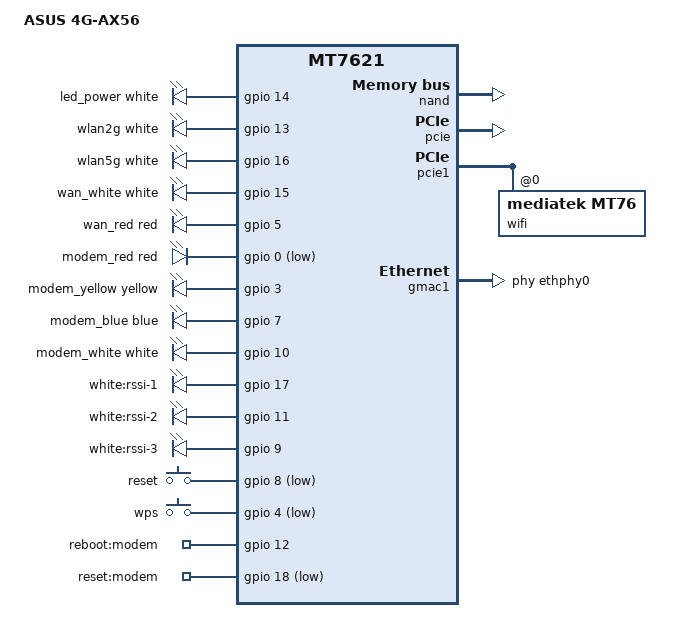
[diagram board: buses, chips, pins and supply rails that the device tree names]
// SPDX-License-Identifier: GPL-2.0-or-later OR MIT

#include "mt7621.dtsi"

#include <dt-bindings/gpio/gpio.h>
#include <dt-bindings/input/input.h>
#include <dt-bindings/leds/common.h>

/ {
	compatible = "asus,4g-ax56", "mediatek,mt7621-soc";
	model = "ASUS 4G-AX56";

	aliases {
		led-boot = &led_power;
		led-failsafe = &led_power;
		led-running = &led_power;
		led-upgrade = &led_power;
		label-mac-device = &gmac0;
	};

	chosen {
		bootargs = "console=ttyS0,115200";
		bootargs-override = "console=ttyS0,115200";
	};

	leds {
		compatible = "gpio-leds";

		led_power: power {
			color = <LED_COLOR_ID_WHITE>;
			function = LED_FUNCTION_POWER;
			gpios = <&gpio 14 GPIO_ACTIVE_HIGH>;
		};

		wlan2g {
			color = <LED_COLOR_ID_WHITE>;
			function = LED_FUNCTION_WLAN_2GHZ;
			gpios = <&gpio 13 GPIO_ACTIVE_HIGH>;
			linux,default-trigger = "phy0tpt";
		};

		wlan5g {
			color = <LED_COLOR_ID_WHITE>;
			function = LED_FUNCTION_WLAN_5GHZ;
			gpios = <&gpio 16 GPIO_ACTIVE_HIGH>;
			linux,default-trigger = "phy1tpt";
		};

		wan_white {
			color = <LED_COLOR_ID_WHITE>;
			function = LED_FUNCTION_WAN;
			gpios = <&gpio 15 GPIO_ACTIVE_HIGH>;
		};

		wan_red {
			color = <LED_COLOR_ID_RED>;
			function = LED_FUNCTION_WAN;
			gpios = <&gpio 5 GPIO_ACTIVE_HIGH>;
		};

		modem_red {
			color = <LED_COLOR_ID_RED>;
			function = LED_FUNCTION_MOBILE;
			gpios = <&gpio 0 GPIO_ACTIVE_LOW>;
		};

		modem_yellow {
			color = <LED_COLOR_ID_YELLOW>;
			function = LED_FUNCTION_MOBILE;
			gpios = <&gpio 3 GPIO_ACTIVE_HIGH>;
		};

		modem_blue {
			color = <LED_COLOR_ID_BLUE>;
			function = LED_FUNCTION_MOBILE;
			gpios = <&gpio 7 GPIO_ACTIVE_HIGH>;
		};

		modem_white {
			color = <LED_COLOR_ID_WHITE>;
			function = LED_FUNCTION_MOBILE;
			gpios = <&gpio 10 GPIO_ACTIVE_HIGH>;
		};

		rssi_1 {
			label = "white:rssi-1";
			gpios = <&gpio 17 GPIO_ACTIVE_HIGH>;
		};

		rssi_2 {
			label = "white:rssi-2";
			gpios = <&gpio 11 GPIO_ACTIVE_HIGH>;
		};

		rssi_3 {
			label = "white:rssi-3";
			gpios = <&gpio 9 GPIO_ACTIVE_HIGH>;
		};
	};

	keys {
		compatible = "gpio-keys";

		key-restart {
			label = "reset";
			gpios = <&gpio 8 GPIO_ACTIVE_LOW>;
			linux,code = <KEY_RESTART>;
		};

		key-wps {
			label = "wps";
			gpios = <&gpio 4 GPIO_ACTIVE_LOW>;
			linux,code = <KEY_WPS_BUTTON>;
		};
	};

	gpio-export {
		compatible = "gpio-export";

		modem_reboot {
			gpio-export,name = "reboot:modem";
			gpio-export,output = <1>;
			gpios = <&gpio 12 GPIO_ACTIVE_HIGH>;
		};

		modem_reset {
			gpio-export,name = "reset:modem";
			gpio-export,output = <1>;
			gpios = <&gpio 18 GPIO_ACTIVE_LOW>;
		};
	};
};

&nand {
	status = "okay";

	mediatek,nmbm;
	mediatek,bmt-remap-range =
		<0x000000 0x7e0000>,
		<0x35e0000 0x7800000>;

	partitions {
		compatible = "fixed-partitions";
		#address-cells = <1>;
		#size-cells = <1>;

		partition@0 {
			label = "u-boot";
			reg = <0x0 0x80000>;
			read-only;
		};

		/*
		 * u-boot gets split here while keeping u-boot read-only,
		 * which allows safe usage of fw_setenv
		 */
		partition@80000 {
			label = "u-boot-env";
			reg = <0x80000 0x60000>;
		};

		partition@e0000 {
			label = "nvram";
			reg = <0xe0000 0x100000>;
			read-only;
		};

		partition@1e0000 {
			label = "factory";
			reg = <0x1e0000 0x100000>;
			read-only;

			nvmem-layout {
				compatible = "fixed-layout";
				#address-cells = <1>;
				#size-cells = <1>;

				eeprom_factory_0: eeprom@0 {
					reg = <0x0 0xe00>;
				};

				macaddr_factory_4: macaddr@4 {
					reg = <0x4 0x6>;
				};

				precal_factory_e10: precal@e10 {
					reg = <0xe10 0x19c10>;
				};
			};
		};

		partition@2e0000 {
			label = "factory2";
			reg = <0x2e0000 0x100000>;
			read-only;
		};

		partition@3e0000 {
			label = "firmware";
			reg = <0x3e0000 0x3200000>;

			compatible = "fixed-partitions";
			#address-cells = <1>;
			#size-cells = <1>;

			partition@0 {
				label = "kernel";
				reg = <0x0 0x400000>;
			};

			partition@400000 {
				label = "ubi";
				reg = <0x400000 0x2e00000>;
			};
		};

		partition@35e0000 {
			label = "firmware2";
			reg = <0x35e0000 0x3200000>;
		};

		partition@67e0000 {
			label = "jffs2";
			reg = <0x67e0000 0x1020000>;
		};

		/* Last 8M are reserved for NMBM management (bad blocks) */
	};
};

&pcie {
	status = "okay";
};

&pcie1 {
	wifi@0,0 {
		compatible = "mediatek,mt76";
		reg = <0x0000 0 0 0 0>;
		nvmem-cells = <&eeprom_factory_0>, <&precal_factory_e10>;
		nvmem-cell-names = "eeprom", "precal";
		mediatek,disable-radar-background;
	};
};

&gmac0 {
	nvmem-cells = <&macaddr_factory_4>;
	nvmem-cell-names = "mac-address";
};

&gmac1 {
	status = "okay";
	label = "wan";
	phy-handle = <&ethphy0>;

	nvmem-cells = <&macaddr_factory_4>;
	nvmem-cell-names = "mac-address";
};

&ethphy0 {
	/delete-property/ interrupts;
};

&switch0 {
	ports {
		port@1 {
			status = "okay";
			label = "lan1";
		};

		port@2 {
			status = "okay";
			label = "lan2";
		};

		port@3 {
			status = "okay";
			label = "lan3";
		};

		port@4 {
			status = "okay";
			label = "lan4";
		};
	};
};

&state_default {
	gpio {
		groups = "i2c", "uart2", "uart3", "jtag", "wdt";
		function = "gpio";
	};
};
